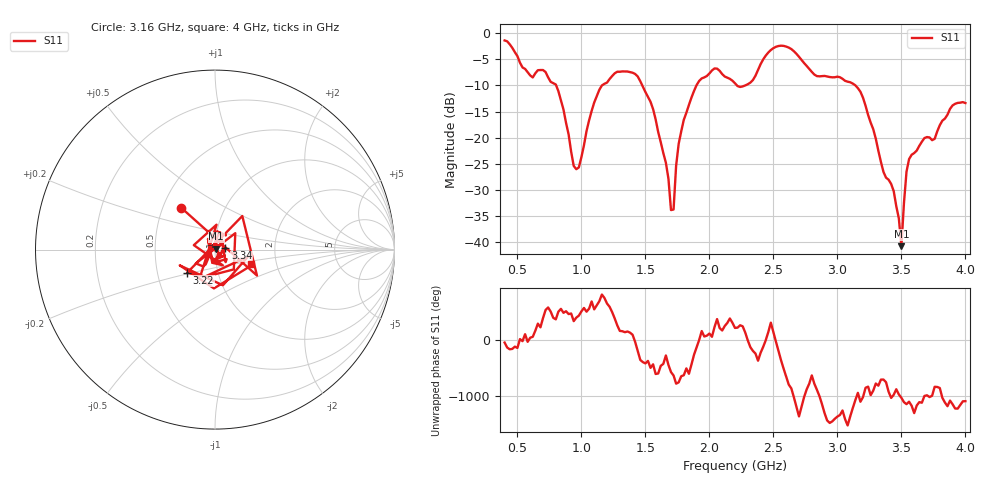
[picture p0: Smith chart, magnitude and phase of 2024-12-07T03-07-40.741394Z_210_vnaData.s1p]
!Created with skrf (http://scikit-rf.org).
# Hz S RI R 50.0
!freq ReS11 ImS11
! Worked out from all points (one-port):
!   181 points, 400 MHz to 4 GHz, reference 50 ohm
!   lowest |S11| = -40.8 dB at 3.5 GHz (marker M1), VSWR 1.02, Z = 50.7 + j0.586 ohm
!   |S11| at or under -10 dB: 802.8 MHz to 1.16 GHz (357.7 MHz wide, 36.4 % of centre); 1.475 GHz to 1.899 GHz (423.5 MHz wide, 25.1 % of centre); 3.141 GHz to end of sweep (the widest 3 of 4)
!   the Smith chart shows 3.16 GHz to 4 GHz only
!   S11 on the Smith chart (normalised r, x): 3.16 GHz: 0.62, +0.32; 3.22 GHz: 0.71, -0.19; 3.34 GHz: 1.12, +0.02; 4 GHz: 1.47, -0.25
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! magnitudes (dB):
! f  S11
! 400 MHz  -1.4
! 620 MHz  -8.5
! 720 MHz  -7.4
! 860 MHz  -14.6
! 960 MHz  -26.0
! 1.14 GHz  -10.8
! 1.3 GHz  -7.4
! 1.44 GHz  -8.3
! 1.54 GHz  -13.1
! 1.66 GHz  -24.8
! 1.7 GHz  -33.9
! 1.72 GHz  -33.7
! 1.76 GHz  -21.2
! 1.92 GHz  -9.1
! 2.04 GHz  -6.7
! 2.2 GHz  -9.6
! 2.32 GHz  -9.5
! 2.5 GHz  -2.9
! 2.66 GHz  -3.5
! 3.1 GHz  -9.4
! 3.16 GHz  -10.5
! 3.22 GHz  -13.9
! 3.34 GHz  -24.6
! 3.44 GHz  -30.2
! 3.5 GHz  -40.8
! 3.54 GHz  -26.5
! 3.56 GHz  -24.1
! 4 GHz  -13.4
